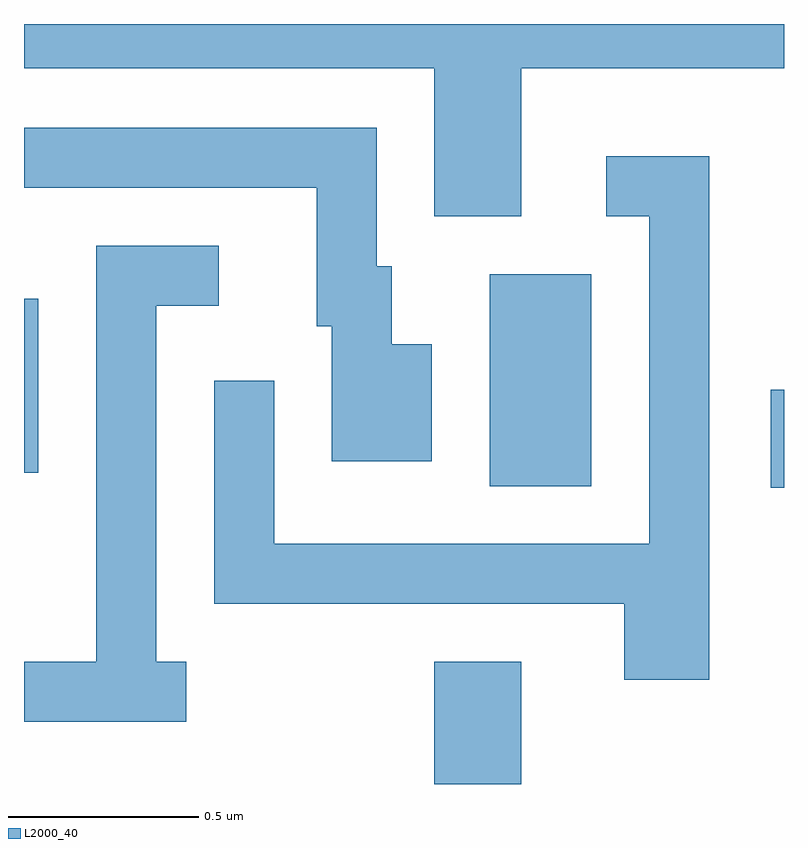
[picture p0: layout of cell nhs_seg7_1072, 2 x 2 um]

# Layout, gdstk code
import gdstk
lib = gdstk.Library(unit=1e-6, precision=1e-09)
def R(c, l, rs):  # rectangles x0, y0, x1, y1
    for r in rs: c.add(gdstk.rectangle(r[:2], r[2:], *l))
def P(c, l, *ps):  # polygons
    for p in ps: c.add(gdstk.Polygon(p, *l))
L2000_40 = (2000, 40)

nhs_seg7_1072 = lib.new_cell('nhs_seg7_1072')
R(nhs_seg7_1072, L2000_40, [(193.691,1781.252,193.919,1781.574), (194.576,1782.031,194.611,1782.289), (193.836,1782.036,194.104,1782.594), (192.611,1782.071,192.649,1782.529)])
P(nhs_seg7_1072, L2000_40, [(193.919,1783.136),(194.611,1783.136),(194.611,1783.252),(192.611,1783.252),(192.611,1783.136),(193.691,1783.136),(193.691,1782.746),(193.919,1782.746)],
  [(193.684,1782.409),(193.579,1782.409),(193.579,1782.614),(193.539,1782.614),(193.539,1782.979),(192.611,1782.979),(192.611,1782.821),(193.381,1782.821),(193.381,1782.456),(193.421,1782.456),(193.421,1782.101),(193.684,1782.101)],
  [(194.414,1782.904),(194.143,1782.904),(194.143,1782.746),(194.256,1782.746),(194.256,1781.884),(193.269,1781.884),(193.269,1782.313),(193.111,1782.313),(193.111,1781.726),(194.191,1781.726),(194.191,1781.526),(194.414,1781.526)],
  [(193.038,1781.574),(192.959,1781.574),(192.959,1782.511),(193.123,1782.511),(193.123,1782.669),(192.801,1782.669),(192.801,1781.574),(192.611,1781.574),(192.611,1781.416),(193.038,1781.416)])

lib.write_gds('nhs_seg7_1072.gds')
